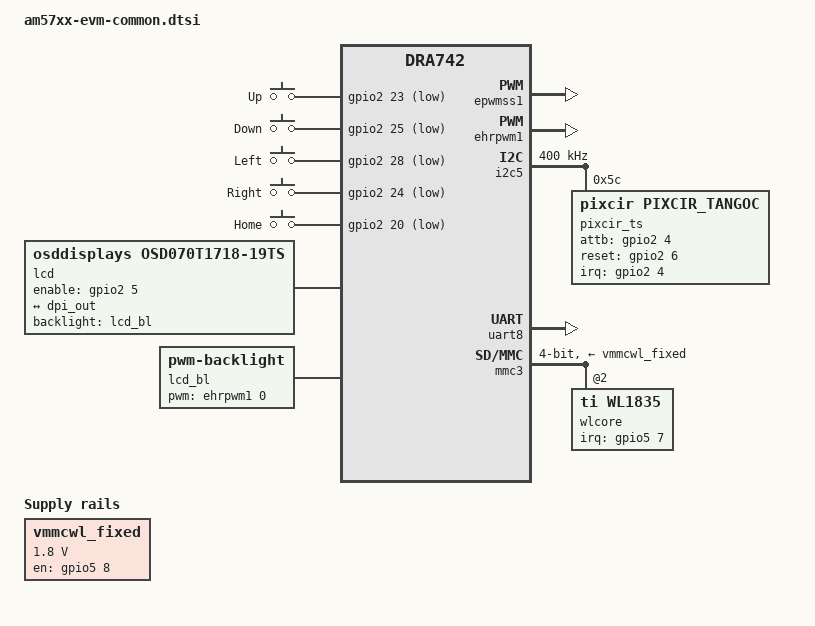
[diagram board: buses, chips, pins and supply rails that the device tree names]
/*
 * Copyright (C) 2015-2016 Texas Instruments Incorporated - http://www.ti.com/
 *
 * This program is free software; you can redistribute it and/or modify
 * it under the terms of the GNU General Public License version 2 as
 * published by the Free Software Foundation.
 */

#include <dt-bindings/gpio/gpio.h>
#include <dt-bindings/input/input.h>

/ {
	compatible = "ti,am5728-evm", "ti,am572x-beagle-x15", "ti,am5728", "ti,dra742", "ti,dra74", "ti,dra7";

	gpio_keys {
		compatible = "gpio-keys";
		#address-cells = <1>;
		#size-cells = <0>;
		autorepeat;

		USER1 {
			label = "Up";
			linux,code = <KEY_UP>;
			gpios = <&gpio2 23 GPIO_ACTIVE_LOW>;
		};

		USER2 {
			label = "Down";
			linux,code = <KEY_DOWN>;
			gpios = <&gpio2 25 GPIO_ACTIVE_LOW>;
		};

		USER3 {
			label = "Left";
			linux,code = <KEY_LEFT>;
			gpios = <&gpio2 28 GPIO_ACTIVE_LOW>;
		};

		USER4 {
			label = "Right";
			linux,code = <KEY_RIGHT>;
			gpios = <&gpio2 24 GPIO_ACTIVE_LOW>;
		};

		USER5 {
			label = "Home";
			linux,code = <KEY_HOME>;
			gpios = <&gpio2 20 GPIO_ACTIVE_LOW>;
		};
	};

	aliases {
		display0 = &lcd0;
		display1 = &hdmi0;
	};

	lcd0: display {
		compatible = "osddisplays,osd070t1718-19ts", "panel-dpi";

		label = "lcd";

		backlight = <&lcd_bl>;

		enable-gpios = <&gpio2 5 GPIO_ACTIVE_HIGH>;

		panel-timing {
			clock-frequency = <33000000>;
			hactive = <800>;
			vactive = <480>;
			hfront-porch = <210>;
			hback-porch = <16>;
			hsync-len = <30>;
			vback-porch = <10>;
			vfront-porch = <22>;
			vsync-len = <13>;
			hsync-active = <0>;
			vsync-active = <0>;
			de-active = <1>;
			pixelclk-active = <1>;
		};

		port {
			lcd_in: endpoint {
				remote-endpoint = <&dpi_out>;
			};
		};
	};

	lcd_bl: backlight {
		compatible = "pwm-backlight";
		pwms = <&ehrpwm1 0 50000 0>;

		/* Anything lower than 241 is no longer visible */
		brightness-levels = <0 243 245 247 249 251 252 253 255>;

		default-brightness-level = <8>;
	};

	vmmcwl_fixed: fixedregulator-mmcwl {
		compatible = "regulator-fixed";
		regulator-name = "vmmcwl_fixed";
		regulator-min-microvolt = <1800000>;
		regulator-max-microvolt = <1800000>;
		gpio = <&gpio5 8 GPIO_ACTIVE_HIGH>;
		enable-active-high;
	};
};

&dss {
	ports {
		#address-cells = <1>;
		#size-cells = <0>;

		port {
			reg = <0>;

			dpi_out: endpoint {
				remote-endpoint = <&lcd_in>;
				data-lines = <24>;
			};
		};
	};
};

&epwmss1 {
	status = "okay";
};

&ehrpwm1 {
	status = "okay";
};

&i2c5 {
	status = "okay";
	clock-frequency = <400000>;

	pixcir_ts@5c {
		compatible = "pixcir,pixcir_tangoc";
		reg = <0x5c>;
		interrupt-parent = <&gpio2>;
		interrupts = <4 0>;

		attb-gpio = <&gpio2 4 GPIO_ACTIVE_HIGH>;
		reset-gpio = <&gpio2 6 GPIO_ACTIVE_HIGH>;

		touchscreen-size-x = <1024>;
		touchscreen-size-y = <600>;
	};
};

&uart8 {
	status = "okay";
};

&mmc3 {
	status = "okay";
	vmmc-supply = <&vmmcwl_fixed>;
	bus-width = <4>;
	pinctrl-names = "default";
	cap-power-off-card;
	keep-power-in-suspend;
	ti,non-removable;

	#address-cells = <1>;
	#size-cells = <0>;
	wlcore: wlcore@2 {
		compatible = "ti,wl1835";
		reg = <2>;
		interrupt-parent = <&gpio5>;
		interrupts = <7 IRQ_TYPE_LEVEL_HIGH>;
	};
};
